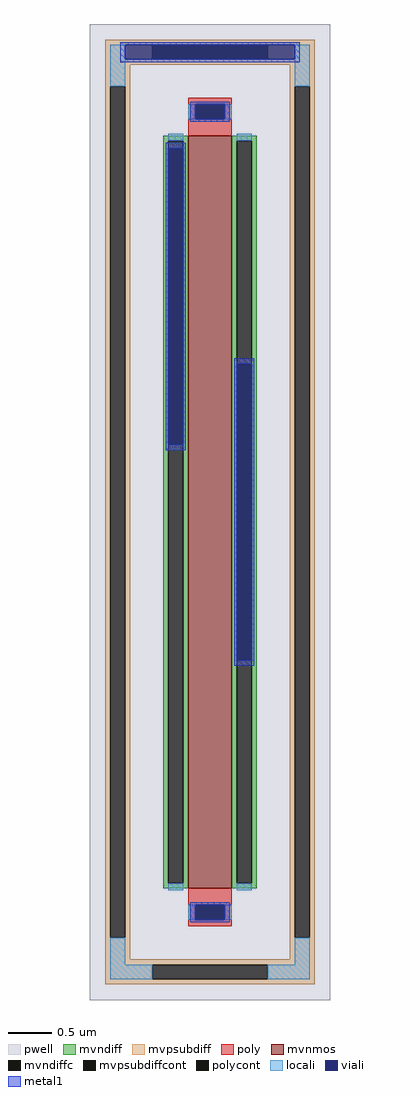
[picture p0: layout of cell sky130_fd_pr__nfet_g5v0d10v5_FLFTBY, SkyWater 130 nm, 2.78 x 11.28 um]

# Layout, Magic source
magic
tech sky130A
magscale 1 2
<< pwell >>
rect -278 -1128 278 1128
<< mvnmos >>
rect -50 -870 50 870
<< mvndiff >>
rect -108 858 -50 870
rect -108 -858 -96 858
rect -62 -858 -50 858
rect -108 -870 -50 -858
rect 50 858 108 870
rect 50 -858 62 858
rect 96 -858 108 858
rect 50 -870 108 -858
<< mvndiffc >>
rect -96 -858 -62 858
rect 62 -858 96 858
<< mvpsubdiff >>
rect -242 1080 242 1092
rect -242 1046 -134 1080
rect 134 1046 242 1080
rect -242 1034 242 1046
rect -242 984 -184 1034
rect -242 -984 -230 984
rect -196 -984 -184 984
rect 184 984 242 1034
rect -242 -1034 -184 -984
rect 184 -984 196 984
rect 230 -984 242 984
rect 184 -1034 242 -984
rect -242 -1046 242 -1034
rect -242 -1080 -134 -1046
rect 134 -1080 242 -1046
rect -242 -1092 242 -1080
<< mvpsubdiffcont >>
rect -134 1046 134 1080
rect -230 -984 -196 984
rect 196 -984 230 984
rect -134 -1080 134 -1046
<< poly >>
rect -50 942 50 958
rect -50 908 -34 942
rect 34 908 50 942
rect -50 870 50 908
rect -50 -908 50 -870
rect -50 -942 -34 -908
rect 34 -942 50 -908
rect -50 -958 50 -942
<< polycont >>
rect -34 908 34 942
rect -34 -942 34 -908
<< locali >>
rect -230 984 -196 1080
rect 196 984 230 1080
rect -50 908 -34 942
rect 34 908 50 942
rect -96 858 -62 874
rect -96 -874 -62 -858
rect 62 858 96 874
rect 62 -874 96 -858
rect -50 -942 -34 -908
rect 34 -942 50 -908
rect -230 -1046 -196 -984
rect 196 -1046 230 -984
rect -230 -1080 -134 -1046
rect 134 -1080 230 -1046
<< viali >>
rect -196 1046 -134 1080
rect -134 1046 134 1080
rect 134 1046 196 1080
rect -34 908 34 942
rect -96 155 -62 841
rect 62 -343 96 343
rect -34 -942 34 -908
<< metal1 >>
rect -208 1080 208 1086
rect -208 1046 -196 1080
rect 196 1046 208 1080
rect -208 1040 208 1046
rect -46 942 46 948
rect -46 908 -34 942
rect 34 908 46 942
rect -46 902 46 908
rect -102 841 -56 853
rect -102 155 -96 841
rect -62 155 -56 841
rect -102 143 -56 155
rect 56 343 102 355
rect 56 -343 62 343
rect 96 -343 102 343
rect 56 -355 102 -343
rect -46 -908 46 -902
rect -46 -942 -34 -908
rect 34 -942 46 -908
rect -46 -948 46 -942
<< properties >>
string gencell sky130_fd_pr__nfet_g5v0d10v5
string FIXED_BBOX -213 -1063 213 1063
string parameters w 8.7 l 0.5 m 1 nf 1 diffcov 100 polycov 100 guard 1 glc 1 grc 1 gtc 1 gbc 1 tbcov 100 rlcov 100 topc 1 botc 1 poverlap 0 doverlap 1 lmin 0.50 wmin 0.42 compatible {sky130_fd_pr__nfet_01v8 sky130_fd_pr__nfet_01v8_lvt  sky130_fd_bs_flash__special_sonosfet_star  sky130_fd_pr__nfet_g5v0d10v5 sky130_fd_pr__nfet_05v0_nvt  sky130_fd_pr__nfet_03v3_nvt} full_metal 1 viasrc 40 viadrn -40 viagate 100 viagb 0 viagr 0 viagl 0 viagt 100
string library sky130
<< end >>
